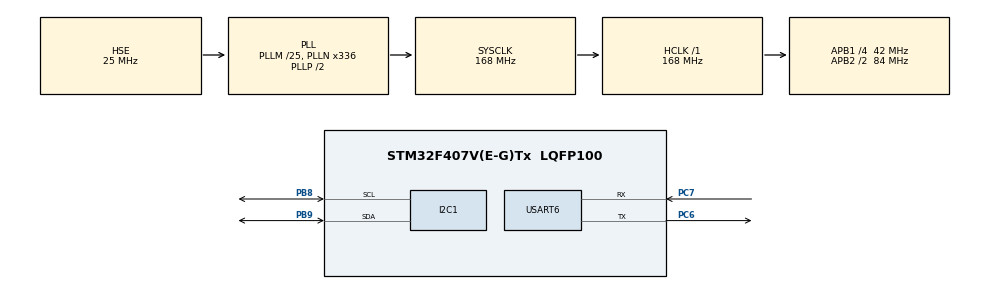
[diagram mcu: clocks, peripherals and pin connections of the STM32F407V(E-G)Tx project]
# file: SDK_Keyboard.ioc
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FREERTOS.Tasks01=defaultTask,24,384,StartDefaultTask,Default,NULL,Dynamic,NULL,NULL;myTask02,32,256,StartTask02,Default,NULL,Dynamic,NULL,NULL
Mcu.Family=STM32F4
Mcu.Name=STM32F407V(E-G)Tx
Mcu.Package=LQFP100
NVIC.PriorityGroup=NVIC_PRIORITYGROUP_4
NVIC.TIM6_DAC_IRQn=true\:15\:0\:false\:false\:true\:false\:false\:true\:true
NVIC.TimeBase=TIM6_DAC_IRQn
NVIC.TimeBaseIP=TIM6
PA13.Mode=JTAG_5_pins
PA13.Signal=SYS_JTMS-SWDIO
PA14.Mode=JTAG_5_pins
PA14.Signal=SYS_JTCK-SWCLK
PA15.Mode=JTAG_5_pins
PA15.Signal=SYS_JTDI
PB3.Mode=JTAG_5_pins
PB3.Signal=SYS_JTDO-SWO
PB4.Mode=JTAG_5_pins
PB4.Signal=SYS_JTRST
PB8.GPIO_Pu=GPIO_PULLUP
PB8.Mode=I2C
PB8.Signal=I2C1_SCL
PB9.GPIO_Pu=GPIO_PULLUP
PB9.Mode=I2C
PB9.Signal=I2C1_SDA
PC6.Mode=Asynchronous
PC6.Signal=USART6_TX
PC7.Mode=Asynchronous
PC7.Signal=USART6_RX
PH0-OSC_IN.Mode=HSE-External-Oscillator
PH0-OSC_IN.Signal=RCC_OSC_IN
PH1-OSC_OUT.Mode=HSE-External-Oscillator
PH1-OSC_OUT.Signal=RCC_OSC_OUT
ProjectManager.HeapSize=0x200
ProjectManager.StackSize=0x400
ProjectManager.TargetToolchain=STM32CubeIDE
RCC.48MHZClocksFreq_Value=84000000
RCC.AHBFreq_Value=168000000
RCC.APB1CLKDivider=RCC_HCLK_DIV4
RCC.APB1Freq_Value=42000000
RCC.APB1TimFreq_Value=84000000
RCC.APB2CLKDivider=RCC_HCLK_DIV2
RCC.APB2Freq_Value=84000000
RCC.APB2TimFreq_Value=168000000
RCC.CortexFreq_Value=168000000
RCC.HCLKFreq_Value=168000000
RCC.HSE_VALUE=25000000
RCC.HSI_VALUE=16000000
RCC.LSE_VALUE=32768
RCC.PLLM=25
RCC.PLLN=336
RCC.PLLSourceVirtual=RCC_PLLSOURCE_HSE
RCC.SYSCLKFreq_VALUE=168000000
RCC.SYSCLKSource=RCC_SYSCLKSOURCE_PLLCLK
RCC.VCOOutputFreq_Value=336000000
USART6.VirtualMode=VM_ASYNC
VP_FREERTOS_VS_CMSIS_V2.Mode=CMSIS_V2
VP_SYS_VS_tim6.Mode=TIM6
board=custom

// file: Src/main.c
/* USER CODE BEGIN Header */
/**
  ******************************************************************************
  * @file           : main.c
  * @brief          : Tic-Tac-Toe for SDK-1.1M + FreeRTOS
  ******************************************************************************
  */
/* USER CODE END Header */
#include "main.h"
#include "cmsis_os.h"
#include "i2c.h"
#include "usart.h"
#include "gpio.h"

/* USER CODE BEGIN Includes */
#include "oled.h"
/* USER CODE END Includes */

void SystemClock_Config(void);
void MX_FREERTOS_Init(void);

int main(void)
{

  /* MCU Configuration--------------------------------------------------------*/

  /* Reset of all peripherals, Initializes the Flash interface and the Systick. */
  HAL_Init();

  /* Configure the system clock */
  SystemClock_Config();

  /* Initialize all configured peripherals */
  MX_GPIO_Init();
  MX_I2C1_Init();
  MX_USART6_UART_Init();
  /* USER CODE BEGIN 2 */
  /*
   * OLED initialization is done before the scheduler starts.
   * At this moment there is no concurrent access to I2C1 yet.
   */
  oled_Init();

  /* USER CODE END 2 */

  /* Init scheduler */
  osKernelInitialize();  /* Call init function for freertos objects (in cmsis_os2.c) */
  MX_FREERTOS_Init();

  /* Start scheduler */
  osKernelStart();

  /* We should never get here as control is now taken by the scheduler */

  /* Infinite loop */
  while (1)
  {
  }

}

void SystemClock_Config(void)
{
  RCC_OscInitTypeDef RCC_OscInitStruct = {0};
  RCC_ClkInitTypeDef RCC_ClkInitStruct = {0};

  /** Configure the main internal regulator output voltage
  */
  __HAL_RCC_PWR_CLK_ENABLE();
  __HAL_PWR_VOLTAGESCALING_CONFIG(PWR_REGULATOR_VOLTAGE_SCALE1);

  /** Initializes the RCC Oscillators according to the specified parameters
  * in the RCC_OscInitTypeDef structure.
  */
  RCC_OscInitStruct.OscillatorType = RCC_OSCILLATORTYPE_HSE;
  RCC_OscInitStruct.HSEState = RCC_HSE_ON;
  RCC_OscInitStruct.PLL.PLLState = RCC_PLL_ON;
  RCC_OscInitStruct.PLL.PLLSource = RCC_PLLSOURCE_HSE;
  RCC_OscInitStruct.PLL.PLLM = 25;
  RCC_OscInitStruct.PLL.PLLN = 336;
  RCC_OscInitStruct.PLL.PLLP = RCC_PLLP_DIV2;
  RCC_OscInitStruct.PLL.PLLQ = 4;
  if (HAL_RCC_OscConfig(&RCC_OscInitStruct) != HAL_OK)
  {
    Error_Handler();
  }

  /** Initializes the CPU, AHB and APB buses clocks
  */
  RCC_ClkInitStruct.ClockType = RCC_CLOCKTYPE_HCLK|RCC_CLOCKTYPE_SYSCLK
                              |RCC_CLOCKTYPE_PCLK1|RCC_CLOCKTYPE_PCLK2;
  RCC_ClkInitStruct.SYSCLKSource = RCC_SYSCLKSOURCE_PLLCLK;
  RCC_ClkInitStruct.AHBCLKDivider = RCC_SYSCLK_DIV1;
  RCC_ClkInitStruct.APB1CLKDivider = RCC_HCLK_DIV4;
  RCC_ClkInitStruct.APB2CLKDivider = RCC_HCLK_DIV2;

  if (HAL_RCC_ClockConfig(&RCC_ClkInitStruct, FLASH_LATENCY_5) != HAL_OK)
  {
    Error_Handler();
  }
}

void HAL_TIM_PeriodElapsedCallback(TIM_HandleTypeDef *htim)
{
  if (htim->Instance == TIM6)
  {
    HAL_IncTick();
  }
}

void Error_Handler(void)
{
  __disable_irq();
  while (1)
  {
  }
}
#ifdef USE_FULL_ASSERT
/**
  * @brief  Reports the name of the source file and the source line number
  *         where the assert_param error has occurred.
  * @param  file: pointer to the source file name
  * @param  line: assert_param error line source number
  * @retval None
  */
void assert_failed(uint8_t *file, uint32_t line)
{
  /* USER CODE BEGIN 6 */
  (void)file;
  (void)line;
  /* USER CODE END 6 */
}
#endif /* USE_FULL_ASSERT */

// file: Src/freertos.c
/* USER CODE BEGIN Header */
/**
  ******************************************************************************
  * File Name          : freertos.c
  * Description        : Tic-Tac-Toe FreeRTOS application for SDK-1.1M
  ******************************************************************************
  */
/* USER CODE END Header */

#include "FreeRTOS.h"
#include "task.h"
#include "main.h"
#include "cmsis_os.h"

/* USER CODE BEGIN Includes */
#include "kb.h"
#include "oled.h"
#include "fonts.h"
#include <stdint.h>
/* USER CODE END Includes */

/* USER CODE BEGIN PTD */

typedef enum
{
  CELL_EMPTY = 0,
  CELL_X,
  CELL_O
} Cell;

typedef enum
{
  GAME_RUNNING = 0,
  GAME_X_WON,
  GAME_O_WON,
  GAME_DRAW
} GameState;

/* USER CODE END PTD */

/* USER CODE BEGIN PD */

#define KEYBOARD_SCAN_PERIOD_MS   20U
#define KEY_QUEUE_LENGTH           8U

#define BOARD_SIZE                63U
#define CELL_SIZE                 21U

/* USER CODE END PD */

/* USER CODE BEGIN Variables */

static osMessageQueueId_t keyQueueHandle;
static osMutexId_t i2cMutexHandle;

static Cell board[9];
static Cell currentPlayer = CELL_X;
static GameState gameState = GAME_RUNNING;

/* USER CODE END Variables */
/* Definitions for defaultTask */
osThreadId_t defaultTaskHandle;
const osThreadAttr_t defaultTask_attributes = {
  .name = "defaultTask",
  .stack_size = 384 * 4,
  .priority = (osPriority_t) osPriorityNormal,
};
/* Definitions for myTask02 */
osThreadId_t myTask02Handle;
const osThreadAttr_t myTask02_attributes = {
  .name = "myTask02",
  .stack_size = 256 * 4,
  .priority = (osPriority_t) osPriorityAboveNormal,
};

/* USER CODE BEGIN FunctionPrototypes */

static char ReadKeyboard(void);

static void Game_Reset(void);
static void Game_ProcessKey(char key);
static GameState Game_Evaluate(void);

static void RenderSplash(void);
static void RenderGame(void);
static void DrawBoard(void);
static void DrawX(uint8_t cellX, uint8_t cellY);
static void DrawO(uint8_t cellX, uint8_t cellY);
static void DrawCirclePoint(uint8_t cx, uint8_t cy, int8_t x, int8_t y);

/* USER CODE END FunctionPrototypes */

void StartDefaultTask(void *argument);
void StartTask02(void *argument);

void MX_FREERTOS_Init(void); /* (MISRA C 2004 rule 8.1) */

void MX_FREERTOS_Init(void) {

  /* USER CODE BEGIN RTOS_MUTEX */
  /*
   * The OLED and the keypad both use I2C1.
   * Protect the HAL I2C driver from simultaneous access by two tasks.
   */
  i2cMutexHandle = osMutexNew(NULL);
  if (i2cMutexHandle == NULL)
  {
    Error_Handler();
  }
  /* USER CODE END RTOS_MUTEX */

  /* USER CODE BEGIN RTOS_QUEUES */
  /*
   * KeyboardTask sends one-byte key events.
   * GameTask blocks on this queue and wakes only when a key is pressed.
   */
  keyQueueHandle = osMessageQueueNew(KEY_QUEUE_LENGTH, sizeof(uint8_t), NULL);
  if (keyQueueHandle == NULL)
  {
    Error_Handler();
  }
  /* USER CODE END RTOS_QUEUES */

  /* Create the thread(s) */
  /* creation of defaultTask */
  defaultTaskHandle = osThreadNew(StartDefaultTask, NULL, &defaultTask_attributes);

  /* creation of myTask02 */
  myTask02Handle = osThreadNew(StartTask02, NULL, &myTask02_attributes);

  /* USER CODE BEGIN RTOS_THREADS */
  if ((defaultTaskHandle == NULL) || (myTask02Handle == NULL))
  {
    Error_Handler();
  }
  /* USER CODE END RTOS_THREADS */

}

void StartDefaultTask(void *argument)
{
  /* USER CODE BEGIN StartDefaultTask */
  (void)argument;

  RenderSplash();
  osDelay(1200);

  Game_Reset();
  RenderGame();

  for (;;)
  {
    uint8_t key = 0U;

    if (osMessageQueueGet(keyQueueHandle, &key, NULL, osWaitForever) == osOK)
    {
      Game_ProcessKey((char)key);
      RenderGame();
    }
  }
  /* USER CODE END StartDefaultTask */
}

void StartTask02(void *argument)
{
  /* USER CODE BEGIN StartTask02 */
  (void)argument;

  for (;;)
  {
    char key = 0;

    if (osMutexAcquire(i2cMutexHandle, osWaitForever) == osOK)
    {
      key = ReadKeyboard();
      osMutexRelease(i2cMutexHandle);
    }

    if (key != 0)
    {
      uint8_t event = (uint8_t)key;
      (void)osMessageQueuePut(keyQueueHandle, &event, 0U, 0U);
    }

    osDelay(KEYBOARD_SCAN_PERIOD_MS);
  }
  /* USER CODE END StartTask02 */
}

/* USER CODE BEGIN Application */

static char ReadKeyboard(void)
{
  static const uint8_t rows[4] = {ROW1, ROW2, ROW3, ROW4};
  static const char keys[4][3] = {
    {'1', '2', '3'},
    {'4', '5', '6'},
    {'7', '8', '9'},
    {'*', '0', '#'}
  };
  static char lastKey = 0;
  char currentKey = 0;

  for (uint8_t row = 0; row < 4; row++)
  {
    uint8_t key = Check_Row(rows[row]);
    if (key == 0x04) { currentKey = keys[row][0]; break; }
    if (key == 0x02) { currentKey = keys[row][1]; break; }
    if (key == 0x01) { currentKey = keys[row][2]; break; }
  }

  if (currentKey != 0)
  {
    if (lastKey == 0)
    {
      lastKey = currentKey;
      return currentKey;
    }
    return 0;
  }

  lastKey = 0;
  return 0;
}

static void Game_Reset(void)
{
  for (uint8_t i = 0; i < 9; i++) board[i] = CELL_EMPTY;
  currentPlayer = CELL_X;
  gameState = GAME_RUNNING;
}

static GameState Game_Evaluate(void)
{
  static const uint8_t winLines[8][3] = {
    {0,1,2},{3,4,5},{6,7,8},
    {0,3,6},{1,4,7},{2,5,8},
    {0,4,8},{2,4,6}
  };

  for (uint8_t i = 0; i < 8; i++)
  {
    uint8_t a = winLines[i][0];
    uint8_t b = winLines[i][1];
    uint8_t c = winLines[i][2];
    if ((board[a] != CELL_EMPTY) && (board[a] == board[b]) && (board[a] == board[c]))
      return (board[a] == CELL_X) ? GAME_X_WON : GAME_O_WON;
  }

  for (uint8_t i = 0; i < 9; i++)
    if (board[i] == CELL_EMPTY) return GAME_RUNNING;

  return GAME_DRAW;
}

static void Game_ProcessKey(char key)
{
  if (key == '*') { Game_Reset(); return; }
  if ((key == '#') && (gameState != GAME_RUNNING)) { Game_Reset(); return; }
  if (gameState != GAME_RUNNING) return;
  if ((key < '1') || (key > '9')) return;

  uint8_t cell = (uint8_t)(key - '1');
  if (board[cell] != CELL_EMPTY) return;

  board[cell] = currentPlayer;
  gameState = Game_Evaluate();
  if (gameState == GAME_RUNNING)
    currentPlayer = (currentPlayer == CELL_X) ? CELL_O : CELL_X;
}

static void DrawX(uint8_t cellX, uint8_t cellY)
{
  uint8_t x0 = (uint8_t)(cellX + 4U);
  uint8_t y0 = (uint8_t)(cellY + 4U);
  uint8_t x1 = (uint8_t)(cellX + 16U);

  for (uint8_t i = 0; i <= 12U; i++)
  {
    uint8_t y = (uint8_t)(y0 + i);
    oled_DrawPixel((uint8_t)(x0 + i), y, White);
    oled_DrawPixel((uint8_t)(x1 - i), y, White);
    oled_DrawPixel((uint8_t)(x0 + i), (uint8_t)(y + 1U), White);
    oled_DrawPixel((uint8_t)(x1 - i), (uint8_t)(y + 1U), White);
  }
}

static void DrawCirclePoint(uint8_t cx, uint8_t cy, int8_t x, int8_t y)
{
  oled_DrawPixel((uint8_t)(cx + x), (uint8_t)(cy + y), White);
  oled_DrawPixel((uint8_t)(cx - x), (uint8_t)(cy + y), White);
  oled_DrawPixel((uint8_t)(cx + x), (uint8_t)(cy - y), White);
  oled_DrawPixel((uint8_t)(cx - x), (uint8_t)(cy - y), White);
  oled_DrawPixel((uint8_t)(cx + y), (uint8_t)(cy + x), White);
  oled_DrawPixel((uint8_t)(cx - y), (uint8_t)(cy + x), White);
  oled_DrawPixel((uint8_t)(cx + y), (uint8_t)(cy - x), White);
  oled_DrawPixel((uint8_t)(cx - y), (uint8_t)(cy - x), White);
}

static void DrawO(uint8_t cellX, uint8_t cellY)
{
  uint8_t cx = (uint8_t)(cellX + 10U);
  uint8_t cy = (uint8_t)(cellY + 10U);
  int8_t x = 7, y = 0, err = 1 - 7;

  while (x >= y)
  {
    DrawCirclePoint(cx, cy, x, y);
    y++;
    if (err < 0) err = (int8_t)(err + (2 * y) + 1);
    else { x--; err = (int8_t)(err + (2 * (y - x)) + 1); }
  }
}

static void DrawBoard(void)
{
  oled_DrawVLine(0, 62, 21, White);
  oled_DrawVLine(0, 62, 42, White);
  oled_DrawHLine(0, 62, 21, White);
  oled_DrawHLine(0, 62, 42, White);

  for (uint8_t i = 0; i < 9; i++)
  {
    uint8_t row = (uint8_t)(i / 3U);
    uint8_t col = (uint8_t)(i % 3U);
    uint8_t cellX = (uint8_t)(col * CELL_SIZE);
    uint8_t cellY = (uint8_t)(row * CELL_SIZE);

    if (board[i] == CELL_X) DrawX(cellX, cellY);
    else if (board[i] == CELL_O) DrawO(cellX, cellY);
    else
    {
      char number = (char)('1' + i);
      oled_SetCursor((uint8_t)(cellX + 7U), (uint8_t)(cellY + 5U));
      oled_WriteChar(number, Font_7x10, White);
    }
  }
}

static void RenderSplash(void)
{
  if (osMutexAcquire(i2cMutexHandle, osWaitForever) != osOK) return;

  oled_Fill(Black);
  oled_SetCursor(25, 7);
  oled_WriteString("TIC TAC TOE", Font_7x10, White);
  oled_SetCursor(25, 27);
  oled_WriteString("1-9 = MOVE", Font_7x10, White);
  oled_SetCursor(32, 45);
  oled_WriteString("* = NEW", Font_7x10, White);
  oled_UpdateScreen();

  osMutexRelease(i2cMutexHandle);
}

static void RenderGame(void)
{
  if (osMutexAcquire(i2cMutexHandle, osWaitForever) != osOK) return;

  oled_Fill(Black);
  DrawBoard();

  if (gameState == GAME_RUNNING)
  {
    oled_SetCursor(68, 2);
    oled_WriteString("TURN", Font_7x10, White);
    oled_SetCursor(84, 14);
    oled_WriteString((currentPlayer == CELL_X) ? "X" : "O", Font_11x18, White);
    oled_SetCursor(68, 38);
    oled_WriteString("1-9 MOVE", Font_7x10, White);
    oled_SetCursor(68, 51);
    oled_WriteString("*=NEW", Font_7x10, White);
  }
  else
  {
    oled_SetCursor(68, 4);
    if (gameState == GAME_X_WON) oled_WriteString("X WINS", Font_7x10, White);
    else if (gameState == GAME_O_WON) oled_WriteString("O WINS", Font_7x10, White);
    else oled_WriteString("DRAW", Font_7x10, White);

    oled_SetCursor(68, 24);
    oled_WriteString("PRESS *", Font_7x10, White);
    oled_SetCursor(68, 38);
    oled_WriteString("OR #", Font_7x10, White);
    oled_SetCursor(68, 52);
    oled_WriteString("NEW GAME", Font_7x10, White);
  }

  oled_UpdateScreen();
  osMutexRelease(i2cMutexHandle);
}

/* USER CODE END Application */
